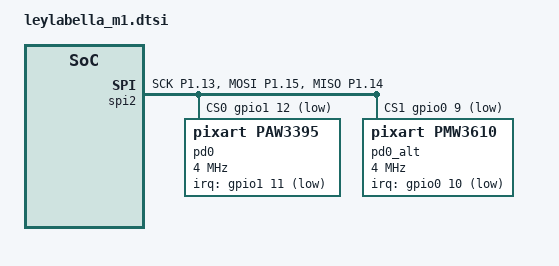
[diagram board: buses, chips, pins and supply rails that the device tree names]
/*
 * Copyright (c) 2020 Pete Johanson
 *
 * SPDX-License-Identifier: MIT
 */

#include <zephyr/dt-bindings/input/input-event-codes.h>

&pinctrl {
	spi2_default: spi2_default {
		group1 {
			psels = <NRF_PSEL(SPIM_SCK, 1, 13)>,
							<NRF_PSEL(SPIM_MOSI, 1, 15)>,
							<NRF_PSEL(SPIM_MISO, 1, 14)>;
		};
	};
	spi2_sleep: spi2_sleep {
		group1 {
			psels = <NRF_PSEL(SPIM_SCK, 1, 13)>,
							<NRF_PSEL(SPIM_MOSI, 1, 15)>,
							<NRF_PSEL(SPIM_MISO, 1, 14)>;
			low-power-enable;
		};
	};
};

// release gpio1 11 & 12 from xiao_ble-pinctrl.dtsi
// for &trackball { irq-gpios }
&uart0 {
	status = "disabled";
};

&spi2 {
	compatible = "nordic,nrf-spim";
  status = "okay";
	pinctrl-0 = <&spi2_default>;
	pinctrl-1 = <&spi2_sleep>;
	pinctrl-names = "default", "sleep";
	cs-gpios = <&gpio1 12 GPIO_ACTIVE_LOW>
	         , <&gpio0 9 GPIO_ACTIVE_LOW>; // NFC 1

	pd0: pd0@0 {
		compatible = "pixart,paw3395";
		status = "okay";
		label = "pd0";
		reg = <0>;
		spi-max-frequency = <4000000>;

		irq-gpios = <&gpio1 11 (GPIO_ACTIVE_LOW | GPIO_PULL_UP)>;
		cpi = <1650>;
		invert-y;
		evt-type = <INPUT_EV_REL>;
		x-input-code = <INPUT_REL_X>;
		y-input-code = <INPUT_REL_Y>;
		force-awake;
	};

	pd0_alt: pd0_alt@1 {
		compatible = "pixart,pmw3610";
		status = "okay";
		label = "pd0_alt";
		reg = <1>;
		spi-max-frequency = <4000000>;

		irq-gpios = <&gpio0 10 (GPIO_ACTIVE_LOW | GPIO_PULL_UP)>; // NFC 2
		cpi = <800>;
		swap-xy;
		evt-type = <INPUT_EV_REL>;
		x-input-code = <INPUT_REL_X>;
		y-input-code = <INPUT_REL_Y>;
		force-awake;
		// force-awake-4ms-mode;
	};
};
